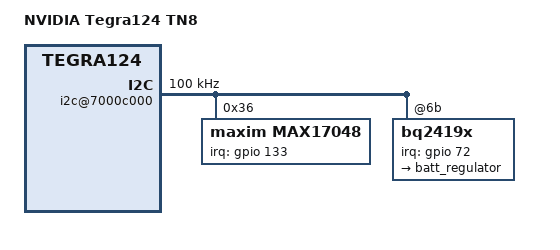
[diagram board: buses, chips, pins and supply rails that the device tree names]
/dts-v1/;

#include "tegra124.dtsi"
#include "tegra124-platforms/tegra124-tn8-io.dtsi"
#include "tegra124-platforms/tegra124-tn8-emc.dtsi"
#include "tegra124-platforms/tegra124-tn8-e1736-pmic.dtsi"
#include "tegra124-platforms/tegra124-tn8-e1736-fixed.dtsi"
#include "tegra124-platforms/tegra124-e1780-gpio-default.dtsi"
#include "tegra124-platforms/tegra124-e1780-pinmux.dtsi"
#include "tegra124-platforms/tegra124-e1780-keys.dtsi"
#include "tegra124-platforms/tegra124-e1794-sensor.dtsi"


/ {
	model = "NVIDIA Tegra124 TN8";
	compatible = "nvidia,tn8", "nvidia,tegra124";
	nvidia,dtsfilename = __FILE__;
	#address-cells = <1>;
	#size-cells = <1>;

	chosen {
		bootargs = "tegraid=40.0.0.00.00 vmalloc=256M video=tegrafb console=ttyS0,115200n8 earlyprintk";
		linux,initrd-start = <0x85000000>;
		linux,initrd-end = <0x851bc400>;
	};

	i2c@7000c000 {
		status = "okay";
		clock-frequency = <100000>;

		max17048@36 {
			compatible = "maxim,max17048";
			reg = <0x36>;
			interrupt-parent = <&gpio>;
			interrupts = <133 0x0>;        /* gpio PQ5 */
			tz-name = "battery-temp";
			alert-threshold = <0>;          /* 1% SOC */
			one-percent-alerts = <1>;
			valert-max = <5100>;            /* not use */
			valert-min = <0>;            /* not use */
			vreset-threshold = <2400>;
			vreset-disable = <1>;           /* not use */
			hib-threshold = <48>;           /* 9.984%/hr */
			hib-active-threshold = <128>;   /* 160mV */
			bits = <18>;
			rcomp = <57>;
			rcomp-seg = <0x0200>;
			soccheck-a = <119>;
			soccheck-b = <121>;
			ocvtest = <55952>;
			data-tbl = <0x98 0x80 0xB3 0x50 0xB7 0x90 0xB9 0x00
				0xBA 0x70 0xBC 0x10 0xBC 0x50 0xBC 0xA0
				0xBD 0x20 0xBE 0x30 0xBF 0x40 0xC2 0xF0
				0xC4 0x20 0xC7 0xE0 0xCB 0xF0 0xD0 0x90
				0x00 0x40 0x06 0x70 0x0E 0x50 0x12 0x00
				0x18 0xD0 0x33 0x10 0x31 0x40 0x35 0xD0
				0x18 0xD0 0x19 0x00 0x0B 0xF0 0x0C 0x10
				0x0D 0x10 0x07 0x90 0x08 0x00 0x08 0x00>;
		};

		bq2419x: bq2419x@6b {
			interrupt-parent = <&gpio>;
			interrupts = <72 0x0>;

			charger {
				regulator-name = "batt_regulator";
				regulator-max-microamp = <3000>;
				watchdog-timeout = <40>;
				rtc-alarm-time = <3600>;
				auto-recharge-time = <1800>;
				consumers {
					c1 {
						regulator-consumer-supply = "usb_bat_chg";
						regulator-consumer-device = "tegra-udc.0";
					};
				};
			};
		};
	};
};

